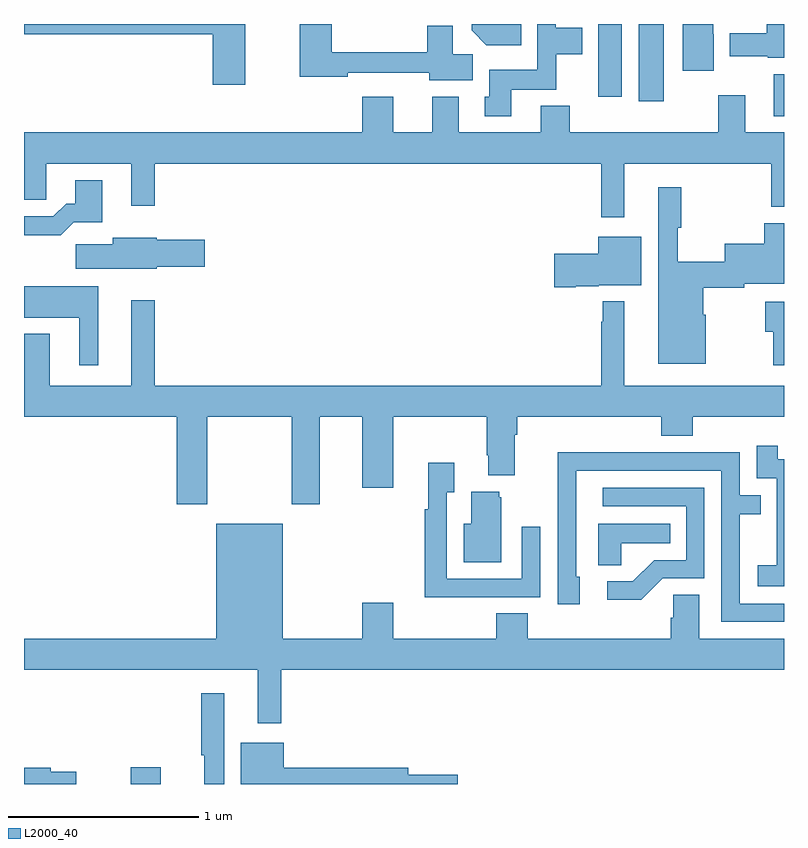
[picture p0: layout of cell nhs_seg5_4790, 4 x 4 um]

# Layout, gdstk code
import gdstk
lib = gdstk.Library(unit=1e-6, precision=1e-09)
def R(c, l, rs):  # rectangles x0, y0, x1, y1
    for r in rs: c.add(gdstk.rectangle(r[:2], r[2:], *l))
def P(c, l, *ps):  # polygons
    for p in ps: c.add(gdstk.Polygon(p, *l))
L2000_40 = (2000, 40)

nhs_seg5_4790 = lib.new_cell('nhs_seg5_4790')
R(nhs_seg5_4790, L2000_40, [(391.562,882.799,391.72,882.886), (394.946,886.313,395,886.534), (394.235,886.392,394.366,886.799), (394.022,886.416,394.147,886.799)])
P(nhs_seg5_4790, L2000_40, [(393.617,886.799),(393.356,886.799),(393.356,886.766),(393.434,886.688),(393.617,886.688)],
  [(392.164,886.799),(391,886.799),(391,886.744),(391.994,886.744),(391.994,886.479),(392.164,886.479)],
  [(395,886.799),(394.91,886.799),(394.91,886.75),(394.715,886.75),(394.715,886.628),(394.914,886.628),(394.914,886.622),(395,886.622)],
  [(394.63,886.746),(394.628,886.746),(394.628,886.799),(394.466,886.799),(394.466,886.554),(394.63,886.554)],
  [(393.361,886.64),(393.256,886.64),(393.256,886.789),(393.122,886.789),(393.122,886.651),(392.621,886.651),(392.621,886.799),(392.45,886.799),(392.45,886.522),(392.704,886.522),(392.704,886.542),(393.134,886.542),(393.134,886.502),(393.361,886.502)],
  [(393.565,886.454),(393.801,886.454),(393.801,886.64),(393.937,886.64),(393.937,886.78),(393.798,886.78),(393.798,886.799),(393.702,886.799),(393.702,886.558),(393.449,886.558),(393.449,886.416),(393.425,886.416),(393.425,886.314),(393.565,886.314)],
  [(394.159,886.064),(394.933,886.064),(394.933,885.836),(395,885.836),(395,886.228),(394.795,886.228),(394.795,886.423),(394.655,886.423),(394.655,886.228),(393.872,886.228),(393.872,886.369),(393.719,886.369),(393.719,886.228),(393.289,886.228),(393.289,886.417),(393.149,886.417),(393.149,886.228),(392.944,886.228),(392.944,886.417),(392.78,886.417),(392.78,886.228),(391,886.228),(391,885.874),(391.116,885.874),(391.116,886.064),(391.565,886.064),(391.565,885.843),(391.687,885.843),(391.687,886.064),(394.038,886.064),(394.038,885.783),(394.159,885.783)],
  [(391.262,885.755),(391.411,885.755),(391.411,885.976),(391.271,885.976),(391.271,885.853),(391.222,885.853),(391.155,885.786),(391,885.786),(391,885.686),(391.193,885.686)],
  [(394.588,885.27),(394.576,885.27),(394.576,885.412),(394.792,885.412),(394.792,885.431),(395,885.431),(395,885.751),(394.897,885.751),(394.897,885.643),(394.688,885.643),(394.688,885.548),(394.441,885.548),(394.441,885.726),(394.459,885.726),(394.459,885.94),(394.337,885.94),(394.337,885.011),(394.588,885.011)],
  [(393.904,885.419),(394.026,885.419),(394.026,885.425),(394.249,885.425),(394.249,885.679),(394.022,885.679),(394.022,885.591),(393.792,885.591),(393.792,885.413),(393.904,885.413)],
  [(391.698,885.521),(391.951,885.521),(391.951,885.663),(391.698,885.663),(391.698,885.673),(391.466,885.673),(391.466,885.641),(391.272,885.641),(391.272,885.512),(391.698,885.512)],
  [(391.39,885.418),(391,885.418),(391,885.254),(391.292,885.254),(391.292,885.003),(391.39,885.003)],
  [(391.965,884.732),(392.41,884.732),(392.41,884.271),(392.557,884.271),(392.557,884.732),(392.78,884.732),(392.78,884.358),(392.944,884.358),(392.944,884.732),(393.436,884.732),(393.436,884.53),(393.443,884.53),(393.443,884.423),(393.583,884.423),(393.583,884.636),(393.596,884.636),(393.596,884.732),(394.355,884.732),(394.355,884.633),(394.52,884.633),(394.52,884.732),(395,884.732),(395,884.896),(394.159,884.896),(394.159,885.34),(394.045,885.34),(394.045,885.233),(394.038,885.233),(394.038,884.896),(391.687,884.896),(391.687,885.346),(391.565,885.346),(391.565,884.896),(391.135,884.896),(391.135,885.169),(391,885.169),(391,884.732),(391.805,884.732),(391.805,884.271),(391.965,884.271)],
  [(395,885.337),(394.902,885.337),(394.902,885.179),(394.944,885.179),(394.944,885.003),(395,885.003)],
  [(395,884.508),(394.966,884.508),(394.966,884.578),(394.857,884.578),(394.857,884.409),(394.962,884.409),(394.962,884.18),(394.961,884.18),(394.961,883.951),(394.863,883.951),(394.863,883.841),(395,883.841)],
  [(395,883.749),(394.767,883.749),(394.767,884.218),(394.877,884.218),(394.877,884.319),(394.767,884.319),(394.767,884.544),(394.271,884.544),(394.271,884.546),(393.808,884.546),(393.808,884.239),(393.81,884.239),(393.81,883.746),(393.925,883.746),(393.925,883.89),(393.906,883.89),(393.906,884.448),(394.671,884.448),(394.671,883.653),(395,883.653)],
  [(393.401,883.782),(393.717,883.782),(393.717,884.152),(393.621,884.152),(393.621,883.878),(393.225,883.878),(393.225,884.335),(393.265,884.335),(393.265,884.491),(393.128,884.491),(393.128,884.246),(393.109,884.246),(393.109,883.781),(393.401,883.781)],
  [(394.362,883.881),(394.581,883.881),(394.581,884.358),(394.047,884.358),(394.047,884.262),(394.485,884.262),(394.485,883.977),(394.316,883.977),(394.205,883.866),(394.071,883.866),(394.071,883.769),(394.249,883.769)],
  [(393.511,884.307),(393.5,884.307),(393.5,884.338),(393.353,884.338),(393.353,884.17),(393.314,884.17),(393.314,883.967),(393.511,883.967)],
  [(392.353,883.4),(395,883.4),(395,883.564),(394.555,883.564),(394.555,883.796),(394.416,883.796),(394.416,883.673),(394.403,883.673),(394.403,883.564),(393.65,883.564),(393.65,883.697),(393.485,883.697),(393.485,883.564),(392.944,883.564),(392.944,883.753),(392.78,883.753),(392.78,883.564),(392.362,883.564),(392.362,884.17),(392.012,884.17),(392.012,883.564),(391,883.564),(391,883.4),(392.231,883.4),(392.231,883.119),(392.353,883.119)],
  [(394.143,884.066),(394.4,884.066),(394.4,884.17),(394.022,884.17),(394.022,883.951),(394.143,883.951)],
  [(392.053,883.276),(391.932,883.276),(391.932,882.951),(391.949,882.951),(391.949,882.799),(392.053,882.799)],
  [(393.283,882.848),(393.022,882.848),(393.022,882.884),(392.368,882.884),(392.368,883.015),(392.141,883.015),(392.141,882.799),(393.283,882.799)],
  [(391.276,882.864),(391.142,882.864),(391.142,882.884),(391,882.884),(391,882.799),(391.276,882.799)])

lib.write_gds('nhs_seg5_4790.gds')
